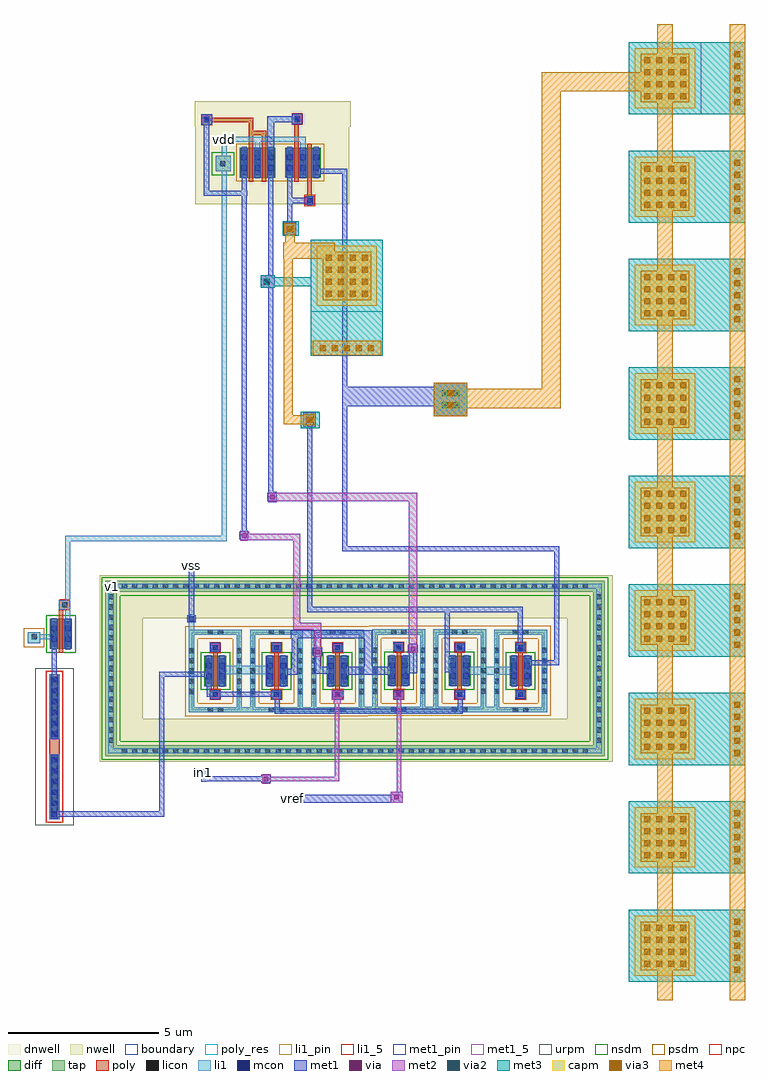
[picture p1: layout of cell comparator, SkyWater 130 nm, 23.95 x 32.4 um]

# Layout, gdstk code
from math import pi, radians
import gdstk
lib = gdstk.Library(unit=1e-6, precision=1e-09)
def R(c, l, rs):  # rectangles x0, y0, x1, y1
    for r in rs: c.add(gdstk.rectangle(r[:2], r[2:], *l))
def A(c, l, x, y, w, h, nx, ny, dx, dy):  # array of equal rectangles
    R(c, l, [(x+i*dx, y+j*dy, x+i*dx+w, y+j*dy+h) for i in range(nx) for j in range(ny)])
dnwell = (64, 18)
nwell = (64, 20)
diff = (65, 20)
tap = (65, 44)
poly_res = (66, 13)
poly = (66, 20)
licon = (66, 44)
li1_5 = (67, 5)
li1_pin = (67, 16)
li1 = (67, 20)
mcon = (67, 44)
met1_5 = (68, 5)
met1_pin = (68, 16)
met1 = (68, 20)
via = (68, 44)
met2 = (69, 20)
via2 = (69, 44)
met3 = (70, 20)
via3 = (70, 44)
met4 = (71, 20)
urpm = (79, 20)
capm = (89, 44)
nsdm = (93, 44)
psdm = (94, 20)
npc = (95, 20)
boundary = (235, 4)

bodynmos = lib.new_cell('bodynmos')
R(bodynmos, tap, [(-0.12,-0.12,0.31,0.26)])
R(bodynmos, licon, [(0.02,0.025,0.19,0.195)])
R(bodynmos, li1, [(-0.12,-0.12,0.31,0.26)])
R(bodynmos, psdm, [(-0.245,-0.245,0.435,0.385)])

sky130_fd_pr__res_xhigh_ = lib.new_cell('sky130_fd_pr__res_xhigh_po_0p35_6R3NZW')
R(sky130_fd_pr__res_xhigh_, poly_res, [(-0.175,-0.31,0.175,0.31)])
R(sky130_fd_pr__res_xhigh_, poly, [(-0.175,-2.41,0.175,2.41)])
R(sky130_fd_pr__res_xhigh_, licon, [(-0.095,-2.33,0.095,-0.33), (-0.095,0.33,0.095,2.33)])
R(sky130_fd_pr__res_xhigh_, li1, [(-0.175,-2.41,0.175,-0.25), (-0.175,0.25,0.175,2.41)])
A(sky130_fd_pr__res_xhigh_, mcon, -0.085, -2.315, 0.17, 0.17, 1, 6, 0, 0.36)
A(sky130_fd_pr__res_xhigh_, mcon, -0.085, 0.34, 0.17, 0.17, 1, 6, 0, 0.36)
R(sky130_fd_pr__res_xhigh_, met1, [(-0.125,-2.38,0.125,-0.275), (-0.125,0.275,0.125,2.38)])
R(sky130_fd_pr__res_xhigh_, urpm, [(-0.635,-2.61,0.635,2.61)])
R(sky130_fd_pr__res_xhigh_, psdm, [(-0.285,-2.52,0.285,2.52)])
R(sky130_fd_pr__res_xhigh_, npc, [(-0.27,-2.505,0.27,2.505)])

sky130_fd_pr__nfet_01v8_ = lib.new_cell('sky130_fd_pr__nfet_01v8_WYB6A9')
R(sky130_fd_pr__nfet_01v8_, diff, [(-0.365,-0.5,0.365,0.5)])
R(sky130_fd_pr__nfet_01v8_, poly, [(-0.075,-0.63,0.075,0.63)])
A(sky130_fd_pr__nfet_01v8_, licon, -0.305, -0.425, 0.17, 0.17, 1, 3, 0, 0.34)
A(sky130_fd_pr__nfet_01v8_, licon, 0.135, -0.425, 0.17, 0.17, 1, 3, 0, 0.34)
R(sky130_fd_pr__nfet_01v8_, li1, [(-0.305,-0.52,-0.135,0.52), (0.135,-0.52,0.305,0.52)])
R(sky130_fd_pr__nfet_01v8_, mcon, [(-0.305,-0.265,-0.135,-0.095), (0.135,-0.265,0.305,-0.095), (-0.305,0.095,-0.135,0.265), (0.135,0.095,0.305,0.265)])
R(sky130_fd_pr__nfet_01v8_, met1, [(-0.335,-0.5,-0.105,0.5), (0.105,-0.5,0.335,0.5)])
R(sky130_fd_pr__nfet_01v8_, nsdm, [(-0.49,-0.625,0.49,0.625)])

bodypmos = lib.new_cell('bodypmos')
R(bodypmos, nwell, [(-0.38,-0.39,0.59,0.55)])
R(bodypmos, tap, [(-0.19,-0.2,0.31,0.31)])
R(bodypmos, licon, [(-0.035,-0.035,0.135,0.135)])
R(bodypmos, li1, [(-0.19,-0.2,0.31,0.31)])
R(bodypmos, nsdm, [(-0.315,-0.325,0.435,0.435)])

c_sky130_fd_pr__nfet_01v8_ = lib.new_cell('sky130_fd_pr__nfet_01v8_24PS5X')
R(c_sky130_fd_pr__nfet_01v8_, diff, [(-0.365,-0.5,0.365,0.5)])
R(c_sky130_fd_pr__nfet_01v8_, tap, [(-0.875,-1.37,0.875,-1.2), (-0.875,-1.2,-0.705,1.2), (0.705,-1.2,0.875,1.2), (-0.875,1.2,0.875,1.37)])
R(c_sky130_fd_pr__nfet_01v8_, poly, [(-0.165,-0.94,0.165,-0.61), (-0.075,-0.61,0.075,0.61), (-0.165,0.61,0.165,0.94)])
A(c_sky130_fd_pr__nfet_01v8_, licon, -0.875, -0.765, 0.17, 0.17, 1, 5, 0, 0.34)
A(c_sky130_fd_pr__nfet_01v8_, licon, 0.705, -0.765, 0.17, 0.17, 1, 5, 0, 0.34)
A(c_sky130_fd_pr__nfet_01v8_, licon, -0.305, -0.425, 0.17, 0.17, 1, 3, 0, 0.34)
A(c_sky130_fd_pr__nfet_01v8_, licon, 0.135, -0.425, 0.17, 0.17, 1, 3, 0, 0.34)
R(c_sky130_fd_pr__nfet_01v8_, licon, [(-0.255,-1.37,-0.085,-1.2), (0.085,-1.37,0.255,-1.2), (-0.085,-0.86,0.085,-0.69), (-0.085,0.69,0.085,0.86), (-0.255,1.2,-0.085,1.37), (0.085,1.2,0.255,1.37)])
R(c_sky130_fd_pr__nfet_01v8_, li1, [(-0.875,-1.37,0.875,-1.2), (-0.875,-1.2,-0.705,1.2), (0.705,-1.2,0.875,1.2), (-0.165,-0.86,0.165,-0.69), (-0.305,-0.52,-0.135,0.52), (0.135,-0.52,0.305,0.52), (-0.165,0.69,0.165,0.86), (-0.875,1.2,0.875,1.37)])
R(c_sky130_fd_pr__nfet_01v8_, mcon, [(-0.085,-0.86,0.085,-0.69), (-0.305,-0.265,-0.135,-0.095), (0.135,-0.265,0.305,-0.095), (-0.305,0.095,-0.135,0.265), (0.135,0.095,0.305,0.265), (-0.085,0.69,0.085,0.86)])
R(c_sky130_fd_pr__nfet_01v8_, met1, [(-0.145,-0.89,0.145,-0.66), (-0.335,-0.5,-0.105,0.5), (0.105,-0.5,0.335,0.5), (-0.145,0.66,0.145,0.89)])
R(c_sky130_fd_pr__nfet_01v8_, nsdm, [(-0.49,-0.625,0.49,0.625)])
R(c_sky130_fd_pr__nfet_01v8_, psdm, [(-1,-1.495,1,-1.075), (-1,-1.075,-0.58,1.075), (0.58,-1.075,1,1.075), (-1,1.075,1,1.495)])
R(c_sky130_fd_pr__nfet_01v8_, npc, [(-0.185,-0.96,0.185,-0.59), (-0.185,0.59,0.185,0.96)])
R(c_sky130_fd_pr__nfet_01v8_, boundary, [(-0.79,-1.285,0.79,1.285)])

sky130_fd_pr__pfet_01v8_ = lib.new_cell('sky130_fd_pr__pfet_01v8_5U3WHE')
R(sky130_fd_pr__pfet_01v8_, nwell, [(-0.545,-0.81,0.545,0.81)])
R(sky130_fd_pr__pfet_01v8_, diff, [(-0.365,-0.5,0.365,0.5)])
R(sky130_fd_pr__pfet_01v8_, poly, [(-0.075,-0.63,0.075,0.63)])
A(sky130_fd_pr__pfet_01v8_, licon, -0.305, -0.425, 0.17, 0.17, 1, 3, 0, 0.34)
A(sky130_fd_pr__pfet_01v8_, licon, 0.135, -0.425, 0.17, 0.17, 1, 3, 0, 0.34)
R(sky130_fd_pr__pfet_01v8_, li1, [(-0.305,-0.52,-0.135,0.52), (0.135,-0.52,0.305,0.52)])
R(sky130_fd_pr__pfet_01v8_, mcon, [(-0.305,-0.265,-0.135,-0.095), (0.135,-0.265,0.305,-0.095), (-0.305,0.095,-0.135,0.265), (0.135,0.095,0.305,0.265)])
R(sky130_fd_pr__pfet_01v8_, met1, [(-0.335,-0.5,-0.105,0.5), (0.105,-0.5,0.335,0.5)])
R(sky130_fd_pr__pfet_01v8_, psdm, [(-0.49,-0.625,0.49,0.625)])

sky130_fd_pr__cap_mim_m3 = lib.new_cell('sky130_fd_pr__cap_mim_m3_1_FJK8MD')
R(sky130_fd_pr__cap_mim_m3, met3, [(-1.93,-1.2,1.93,1.2)])
A(sky130_fd_pr__cap_mim_m3, via3, 1.57, -0.9, 0.2, 0.2, 1, 5, 0, 0.4)
A(sky130_fd_pr__cap_mim_m3, via3, -1.43, -0.7, 0.2, 0.2, 4, 4, 0.4, 0.4)
R(sky130_fd_pr__cap_mim_m3, met4, [(1.43,-1.14,1.91,1.14), (-1.535,-0.805,0.075,0.805)])
R(sky130_fd_pr__cap_mim_m3, capm, [(-1.73,-1,0.27,1)])
R(sky130_fd_pr__cap_mim_m3, boundary, [(-1.93,-1.2,0.47,1.2)])

c_sky130_fd_pr__cap_mim_m3 = lib.new_cell('sky130_fd_pr__cap_mim_m3_1_F2GAMD')
A(c_sky130_fd_pr__cap_mim_m3, met3, -1.93, -15.6, 3.86, 2.4, 1, 9, 0, 3.6)
A(c_sky130_fd_pr__cap_mim_m3, via3, 1.57, -15.3, 0.2, 0.2, 1, 5, 0, 0.4)
A(c_sky130_fd_pr__cap_mim_m3, via3, -1.43, -15.1, 0.2, 0.2, 4, 4, 0.4, 0.4)
A(c_sky130_fd_pr__cap_mim_m3, via3, 1.57, -11.7, 0.2, 0.2, 1, 5, 0, 0.4)
A(c_sky130_fd_pr__cap_mim_m3, via3, -1.43, -11.5, 0.2, 0.2, 4, 4, 0.4, 0.4)
A(c_sky130_fd_pr__cap_mim_m3, via3, 1.57, -8.1, 0.2, 0.2, 1, 5, 0, 0.4)
A(c_sky130_fd_pr__cap_mim_m3, via3, -1.43, -7.9, 0.2, 0.2, 4, 4, 0.4, 0.4)
A(c_sky130_fd_pr__cap_mim_m3, via3, 1.57, -4.5, 0.2, 0.2, 1, 5, 0, 0.4)
A(c_sky130_fd_pr__cap_mim_m3, via3, -1.43, -4.3, 0.2, 0.2, 4, 4, 0.4, 0.4)
A(c_sky130_fd_pr__cap_mim_m3, via3, 1.57, -0.9, 0.2, 0.2, 1, 5, 0, 0.4)
A(c_sky130_fd_pr__cap_mim_m3, via3, -1.43, -0.7, 0.2, 0.2, 4, 4, 0.4, 0.4)
A(c_sky130_fd_pr__cap_mim_m3, via3, 1.57, 2.7, 0.2, 0.2, 1, 5, 0, 0.4)
A(c_sky130_fd_pr__cap_mim_m3, via3, -1.43, 2.9, 0.2, 0.2, 4, 4, 0.4, 0.4)
A(c_sky130_fd_pr__cap_mim_m3, via3, 1.57, 6.3, 0.2, 0.2, 1, 5, 0, 0.4)
A(c_sky130_fd_pr__cap_mim_m3, via3, -1.43, 6.5, 0.2, 0.2, 4, 4, 0.4, 0.4)
A(c_sky130_fd_pr__cap_mim_m3, via3, 1.57, 9.9, 0.2, 0.2, 1, 5, 0, 0.4)
A(c_sky130_fd_pr__cap_mim_m3, via3, -1.43, 10.1, 0.2, 0.2, 4, 4, 0.4, 0.4)
A(c_sky130_fd_pr__cap_mim_m3, via3, 1.57, 13.5, 0.2, 0.2, 1, 5, 0, 0.4)
A(c_sky130_fd_pr__cap_mim_m3, via3, -1.43, 13.7, 0.2, 0.2, 4, 4, 0.4, 0.4)
A(c_sky130_fd_pr__cap_mim_m3, met4, -1.535, -15.205, 1.61, 1.61, 1, 9, 0, 3.6)
A(c_sky130_fd_pr__cap_mim_m3, met4, -0.99, -13.595, 0.52, 1.99, 1, 8, 0, 3.6)
R(c_sky130_fd_pr__cap_mim_m3, met4, [(-0.99,-16.2,-0.47,-15.205), (1.41,-16.2,1.93,16.2), (-0.99,15.205,-0.47,16.2)])
A(c_sky130_fd_pr__cap_mim_m3, capm, -1.73, -15.4, 2, 2, 1, 9, 0, 3.6)
R(c_sky130_fd_pr__cap_mim_m3, boundary, [(-1.93,13.2,0.47,15.6)])

comparator = lib.new_cell('comparator')
R(comparator, dnwell, [(26.48,-32.96,42.675,-27.57)])
R(comparator, nwell, [(26.08,-33.36,43.1,-31.93), (26.08,-31.93,27.51,-28.6), (41.59,-31.93,43.1,-28.6), (26.08,-28.6,43.1,-27.17), (29.24,-14.85,34.36,-14.26), (29.24,-14.26,32.755,-14.09), (32.97,-14.26,34.36,-14.07), (29.24,-14.09,32.68,-14.07), (29.24,-14.07,34.36,-12.275), (29.235,-12.275,34.405,-11.435)])
R(comparator, tap, [(26.265,-33.175,42.835,-32.805), (26.265,-32.805,26.635,-27.725), (42.465,-32.805,42.835,-27.725), (30.74,-31.72,31.25,-31.55), (32.74,-31.72,33.25,-31.55), (34.69,-31.71,35.2,-31.54), (36.7,-31.71,37.21,-31.54), (38.74,-31.71,39.25,-31.54), (26.265,-27.725,42.835,-27.355)])
R(comparator, poly, [(33.81,-31.01,34.14,-30.96), (35.84,-31,36.17,-30.95), (24.715,-28.5,24.865,-28.315), (24.715,-28.315,25.1,-27.995), (32.88,-14.865,33.21,-14.595), (32.97,-14.595,33.12,-14.07), (32.53,-12.97,32.68,-12.195), (31.02,-12.92,31.17,-12.57), (31.46,-12.9,31.61,-12.57), (31.02,-12.57,31.61,-12.42), (31.02,-12.42,31.175,-12.13), (29.44,-12.215,29.815,-12.13), (32.46,-12.195,32.795,-11.85), (29.44,-12.13,31.175,-11.98), (29.44,-11.98,29.815,-11.87)])
A(comparator, licon, 26.815, -33.075, 0.17, 0.17, 46, 2, 0.34, 5.45)
A(comparator, licon, 26.365, -32.73, 0.17, 0.17, 1, 15, 0, 0.34)
A(comparator, licon, 42.565, -32.73, 0.17, 0.17, 1, 15, 0, 0.34)
R(comparator, licon, [(24.825,-28.235,24.995,-28.065), (32.96,-14.815,33.13,-14.645), (29.545,-12.13,29.715,-11.96), (32.55,-12.11,32.72,-11.94)])
R(comparator, li1_5, [(26.41,-27.6,26.61,-27.47)])
R(comparator, li1_pin, [(30.165,-12.76,30.295,-12.625)])
R(comparator, li1, [(26.365,-33.075,42.735,-32.905), (26.365,-32.905,26.535,-27.625), (42.565,-32.905,42.735,-27.625), (30.74,-31.72,31.25,-31.55), (32.74,-31.72,33.25,-31.55), (34.69,-31.71,35.2,-31.54), (36.7,-31.71,37.21,-31.54), (38.74,-31.71,39.25,-31.54), (38.14,-30.48,39.93,-30.2), (30.02,-30.46,31.81,-30.18), (23.98,-29.3,24.515,-29.165), (23.98,-29.165,24.495,-29.125), (29.04,-28.98,29.21,-28.47), (24.925,-28.6,25.095,-28.315), (24.715,-28.315,25.1,-27.995), (24.925,-27.995,25.095,-26.035), (26.365,-27.625,42.735,-27.455), (24.925,-26.035,30.3,-25.865), (30.13,-25.865,30.3,-12.78), (32.96,-14.895,33.13,-14.565), (31.23,-12.95,31.4,-12.78), (32.74,-12.95,32.91,-12.78), (30.13,-12.78,32.91,-12.61), (29.44,-12.215,29.815,-11.87), (32.46,-12.195,32.795,-11.85)])
R(comparator, mcon, [(29.04,-28.695,29.21,-28.525), (32.96,-14.815,33.13,-14.645), (29.545,-12.125,29.715,-11.955), (32.55,-12.11,32.72,-11.94)])
R(comparator, met1_5, [(29.07,-26.92,29.19,-26.77)])
R(comparator, met1_pin, [(32.4,-34.64,32.53,-34.53), (29.47,-33.755,29.605,-33.665)])
R(comparator, met1, [(24.475,-35.185,28.21,-35.18), (24.475,-35.18,28.215,-35), (28.05,-35,28.215,-30.545), (32.34,-34.73,36.135,-34.46), (35.73,-34.46,36.135,-34.36), (31.44,-34.06,31.76,-34.015), (29.45,-34.02,29.62,-34.015), (29.45,-34.015,31.76,-33.845), (29.45,-33.845,29.62,-33.61), (31.44,-33.845,31.76,-33.8), (31.885,-31.76,38.13,-31.595), (31.885,-31.595,32.05,-31.29), (37.965,-31.595,38.13,-31.26), (33.78,-31.31,34.17,-30.99), (29.75,-31.29,30.08,-31.21), (31.78,-31.29,32.11,-31.21), (35.83,-31.29,36.17,-30.99), (39.9,-31.27,40.2,-30.99), (37.87,-31.26,38.19,-30.98), (29.625,-31.21,32.11,-31.045), (29.625,-31.045,30.08,-30.99), (31.78,-31.045,32.11,-30.99), (29.625,-30.99,29.79,-30.545), (28.05,-30.545,29.79,-30.38), (24.485,-30.485,24.655,-29.415), (32.09,-30.48,32.65,-30.28), (34.11,-30.48,35.88,-30.21), (33.195,-30.44,33.83,-30.21), (36.14,-30.43,36.61,-30.15), (37.53,-30.39,37.89,-30.22), (32.45,-30.28,32.65,-29.265), (37.53,-30.22,37.7,-28.39), (33.195,-30.21,33.425,-29.84), (34.855,-30.21,35.125,-29.265), (40.245,-30.155,41.335,-29.985), (36.33,-30.15,36.61,-29.44), (41.165,-29.985,41.335,-26.37), (33.15,-29.84,33.47,-29.58), (29.75,-29.71,30.08,-29.41), (31.78,-29.71,32.11,-29.41), (33.81,-29.71,34.13,-29.42), (37.87,-29.7,38.19,-29.43), (39.89,-29.7,40.21,-29.42), (35.85,-29.69,36.17,-29.4), (39.955,-29.42,40.125,-28.39), (32.415,-29.265,35.125,-28.995), (28.98,-28.725,29.27,-28.495), (29.04,-28.495,29.21,-26.755), (32.965,-28.39,40.125,-28.22), (32.965,-28.22,33.135,-22.165), (34.13,-26.37,41.335,-26.2), (34.13,-26.2,34.3,-21.555), (30.745,-26.01,31.005,-25.69), (30.79,-25.69,30.96,-14.565), (31.67,-24.74,31.95,-24.4), (31.67,-24.4,31.84,-17.63), (32.92,-22.165,33.18,-21.845), (37.165,-21.89,38.27,-21.555), (34.125,-21.555,38.27,-20.915), (34.13,-20.915,34.3,-13.845), (37.165,-20.915,38.27,-20.78), (31.43,-17.63,31.88,-17.21), (31.67,-17.21,31.84,-13.775), (32.255,-15.82,32.515,-15.5), (32.3,-15.5,32.47,-14.815), (32.93,-14.875,33.16,-14.815), (32.3,-14.815,33.16,-14.645), (32.3,-14.645,32.47,-13.85), (32.93,-14.645,33.16,-14.585), (29.525,-14.565,30.97,-14.4), (29.525,-14.4,29.715,-12.215), (30.79,-14.4,30.96,-13.735), (33.2,-13.845,34.3,-13.675), (31.64,-12.97,31.87,-12.13), (29.44,-12.215,29.815,-11.87), (32.46,-12.195,32.795,-12.13), (31.64,-12.13,32.795,-11.93), (32.46,-11.93,32.795,-11.85)])
R(comparator, via, [(35.86,-34.61,36.01,-34.46), (31.525,-34.005,31.675,-33.855), (33.9,-31.215,34.05,-31.065), (35.925,-31.205,36.075,-31.055), (33.235,-29.785,33.385,-29.635), (36.395,-29.685,36.545,-29.535), (30.8,-25.925,30.95,-25.775), (31.735,-24.645,31.885,-24.495), (32.975,-22.08,33.125,-21.93), (37.495,-21.555,37.645,-21.405), (37.815,-21.555,37.965,-21.405), (37.495,-21.235,37.645,-21.085), (37.815,-21.235,37.965,-21.085), (31.55,-17.495,31.7,-17.345), (32.31,-15.735,32.46,-15.585)])
R(comparator, met2, [(35.74,-34.73,36.14,-34.36), (35.93,-34.36,36.09,-31.28), (31.47,-34.09,31.73,-34.015), (31.47,-34.015,34.025,-33.865), (31.47,-33.865,31.73,-33.77), (33.875,-33.865,34.025,-31.43), (33.85,-31.43,34.07,-31.31), (33.78,-31.31,34.17,-30.99), (35.84,-31.28,36.17,-31), (33.18,-29.87,33.44,-29.55), (36.3,-29.75,36.64,-29.47), (33.195,-29.55,33.425,-28.975), (36.33,-29.47,36.61,-24.71), (32.495,-28.975,33.425,-28.745), (32.495,-28.745,32.725,-26.015), (30.755,-26.02,30.985,-26.015), (30.755,-26.015,32.725,-25.98), (30.715,-25.98,32.725,-25.785), (30.715,-25.785,31.035,-25.72), (30.755,-25.72,30.985,-25.705), (31.64,-24.71,36.61,-24.43), (32.84,-22.24,33.255,-21.78), (37.165,-21.89,38.27,-20.78), (31.43,-17.63,31.88,-17.21), (32.18,-15.87,32.6,-15.45)])
R(comparator, via2, [(32.95,-22.105,33.15,-21.905), (37.43,-21.62,37.63,-21.42), (37.83,-21.62,38.03,-21.42), (37.43,-21.22,37.63,-21.02), (37.83,-21.22,38.03,-21.02), (31.525,-17.52,31.725,-17.32), (32.285,-15.76,32.485,-15.56)])
R(comparator, met3, [(32.745,-22.295,33.38,-21.74), (37.165,-21.89,38.27,-20.78), (31.43,-17.63,31.88,-17.58), (31.43,-17.58,33.12,-17.28), (31.43,-17.28,31.88,-17.21), (32.15,-15.9,32.68,-15.42)])
R(comparator, via3, [(32.95,-22.105,33.15,-21.905), (37.63,-21.62,37.83,-21.42), (37.63,-21.22,37.83,-21.02), (32.285,-15.76,32.485,-15.56)])
R(comparator, met4, [(32.87,-22.185,33.23,-22.155), (32.18,-22.155,33.23,-21.855), (37.165,-21.89,38.27,-21.62), (32.18,-21.855,32.48,-16.665), (32.87,-21.855,33.23,-21.825), (37.165,-21.62,41.385,-20.98), (37.165,-20.98,38.27,-20.78), (40.745,-20.98,41.385,-11.105), (32.18,-16.665,33.885,-16.66), (32.17,-16.66,33.885,-16.14), (32.235,-16.14,32.55,-15.84), (32.205,-15.84,32.565,-15.48), (40.745,-11.105,44.16,-10.465)])
R(comparator, nsdm, [(26.14,-33.3,42.96,-32.68), (26.14,-32.68,26.76,-27.85), (42.34,-32.68,42.96,-27.85), (26.14,-27.85,42.96,-27.23)])
R(comparator, psdm, [(30.615,-31.845,31.375,-31.425), (32.615,-31.845,33.375,-31.425), (34.565,-31.835,35.325,-31.415), (36.575,-31.835,37.335,-31.415), (38.615,-31.835,39.375,-31.415), (30.915,-31.425,30.945,-28.855), (32.945,-31.425,32.975,-28.855), (34.975,-31.415,35.005,-28.855), (37.005,-31.415,37.025,-28.845), (39.025,-31.415,39.05,-28.85), (32.025,-14.095,32.115,-12.845)])
R(comparator, npc, [(24.725,-28.335,25.095,-27.965), (32.86,-14.915,33.23,-14.545), (29.445,-12.23,29.815,-11.86), (32.45,-12.21,32.82,-11.84)])
comparator.add(gdstk.Reference(bodynmos, (23.8,-29.315)))
comparator.add(gdstk.Reference(sky130_fd_pr__res_xhigh_, (24.575,-32.865)))
comparator.add(gdstk.Reference(sky130_fd_pr__nfet_01v8_, (24.79,-29.115)))
comparator.add(gdstk.Reference(bodypmos, (30.11,-13.56)))
comparator.add(gdstk.Reference(c_sky130_fd_pr__nfet_01v8_, (31.945,-30.35)))
comparator.add(gdstk.Reference(c_sky130_fd_pr__nfet_01v8_, (29.915,-30.35), rotation=pi, x_reflection=True))
comparator.add(gdstk.Reference(sky130_fd_pr__pfet_01v8_, (31.535,-13.47)))
comparator.add(gdstk.Reference(sky130_fd_pr__pfet_01v8_, (31.095,-13.47), rotation=pi, x_reflection=True))
comparator.add(gdstk.Reference(sky130_fd_pr__cap_mim_m3, (34.28,-17.96), rotation=3*pi/2))
comparator.add(gdstk.Reference(c_sky130_fd_pr__nfet_01v8_, (36.005,-30.34)))
comparator.add(gdstk.Reference(c_sky130_fd_pr__nfet_01v8_, (33.975,-30.35), rotation=pi, x_reflection=True))
comparator.add(gdstk.Reference(sky130_fd_pr__pfet_01v8_, (33.045,-13.47)))
comparator.add(gdstk.Reference(sky130_fd_pr__pfet_01v8_, (32.605,-13.47), rotation=pi, x_reflection=True))
comparator.add(gdstk.Reference(c_sky130_fd_pr__nfet_01v8_, (40.05,-30.345)))
comparator.add(gdstk.Reference(c_sky130_fd_pr__nfet_01v8_, (38.025,-30.34), rotation=pi, x_reflection=True))
comparator.add(gdstk.Reference(c_sky130_fd_pr__cap_mim_m3, (45.575,-25.07)))
comparator.add(gdstk.Label('v1', (26.51,-27.535), layer=67, texttype=5))
comparator.add(gdstk.Label('vss', (29.13,-26.845), layer=68, texttype=5))
comparator.add(gdstk.Label('in1', (29.537,-33.71), layer=68, texttype=5))
comparator.add(gdstk.Label('vref', (32.465,-34.585), layer=68, texttype=5))
comparator.add(gdstk.Label('vdd', (30.23,-12.692), layer=67, texttype=5))

lib.write_gds('comparator.gds')
